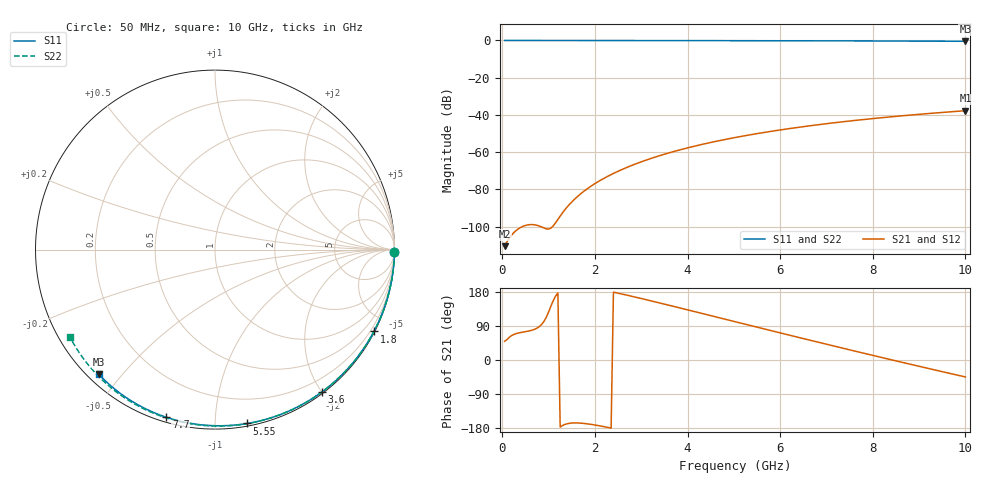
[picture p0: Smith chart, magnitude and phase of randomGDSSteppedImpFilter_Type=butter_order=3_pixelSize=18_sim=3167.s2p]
! freq	dB(S11)	phase(S11)	dB(S12)	phase(S12)
!  dB(S21)	phase(S21)	dB(S22)	phase(S22)
!S-par simulation data
#  GHz  S  DB  R 50
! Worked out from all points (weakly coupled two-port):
!   200 points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, 50 MHz to 10 GHz, reference 50 ohm
!   highest |S21| = -37.71 dB at 10 GHz (marker M1); lowest = -110.4 dB at 50 MHz (marker M2)
!   lowest |S11| = -0.4 dB at 10 GHz (marker M3), VSWR 38.93, Z = 1.53 - j21.8 ohm
!   |S11| at or under -10 dB: nowhere
!   |S22| runs from -0.5 to 0.0 dB; largest |S21 - S12| = 0
!   S11 on the Smith chart (normalised r, x): 50 MHz: open; 1.8 GHz: 0.04, -4.13; 3.6 GHz: 0.02, -1.99; 5.55 GHz: 0.02, -1.20; 7.7 GHz: 0.02, -0.75; 10 GHz: 0.03, -0.44
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0.05  -0.00 -0.8  -110.44 49.4  -110.44 49.4  -0.00 -0.9
0.45  -0.01 -6.9  -99.75 73.7  -99.75 73.7  -0.01 -7.8
0.9  -0.02 -13.7  -100.71 102.0  -100.71 102.0  -0.02 -15.5
1.3  -0.02 -19.8  -92.55 -172.9  -92.55 -172.9  -0.03 -22.3
1.75  -0.03 -26.5  -81.18 -167.2  -81.18 -167.2  -0.04 -29.8
1.8  -0.03 -27.2  -80.24 -167.9  -80.24 -167.9  -0.04 -30.6
2.15  -0.04 -32.4  -74.65 -174.8  -74.65 -174.8  -0.05 -36.4
2.5  -0.05 -37.5  -70.22 176.4  -70.22 176.4  -0.05 -42.2
2.9  -0.06 -43.3  -66.08 165.2  -66.08 165.2  -0.06 -48.6
3.4  -0.07 -50.4  -61.83 150.5  -61.83 150.5  -0.08 -56.6
3.6  -0.07 -53.3  -60.35 144.5  -60.35 144.5  -0.08 -59.7
3.9  -0.08 -57.4  -58.31 135.4  -58.31 135.4  -0.09 -64.4
4.3  -0.09 -62.9  -55.88 123.2  -55.88 123.2  -0.10 -70.5
5.05  -0.11 -73.0  -52.01 100.4  -52.01 100.4  -0.13 -81.6
5.55  -0.13 -79.5  -49.81 85.2  -49.81 85.2  -0.15 -88.9
6.1  -0.15 -86.6  -47.68 68.5  -47.68 68.5  -0.17 -96.7
6.7  -0.18 -94.0  -45.62 50.5  -45.62 50.5  -0.20 -105.0
7.2  -0.21 -100.2  -44.09 35.7  -44.09 35.7  -0.24 -111.8
7.7  -0.24 -106.2  -42.71 20.9  -42.71 20.9  -0.27 -118.5
8.35  -0.29 -113.9  -41.09 2.0  -41.09 2.0  -0.33 -127.2
9.2  -0.36 -123.7  -39.24 -22.3  -39.24 -22.3  -0.41 -138.4
10  -0.45 -132.9  -37.71 -44.8  -37.71 -44.8  -0.50 -148.9
